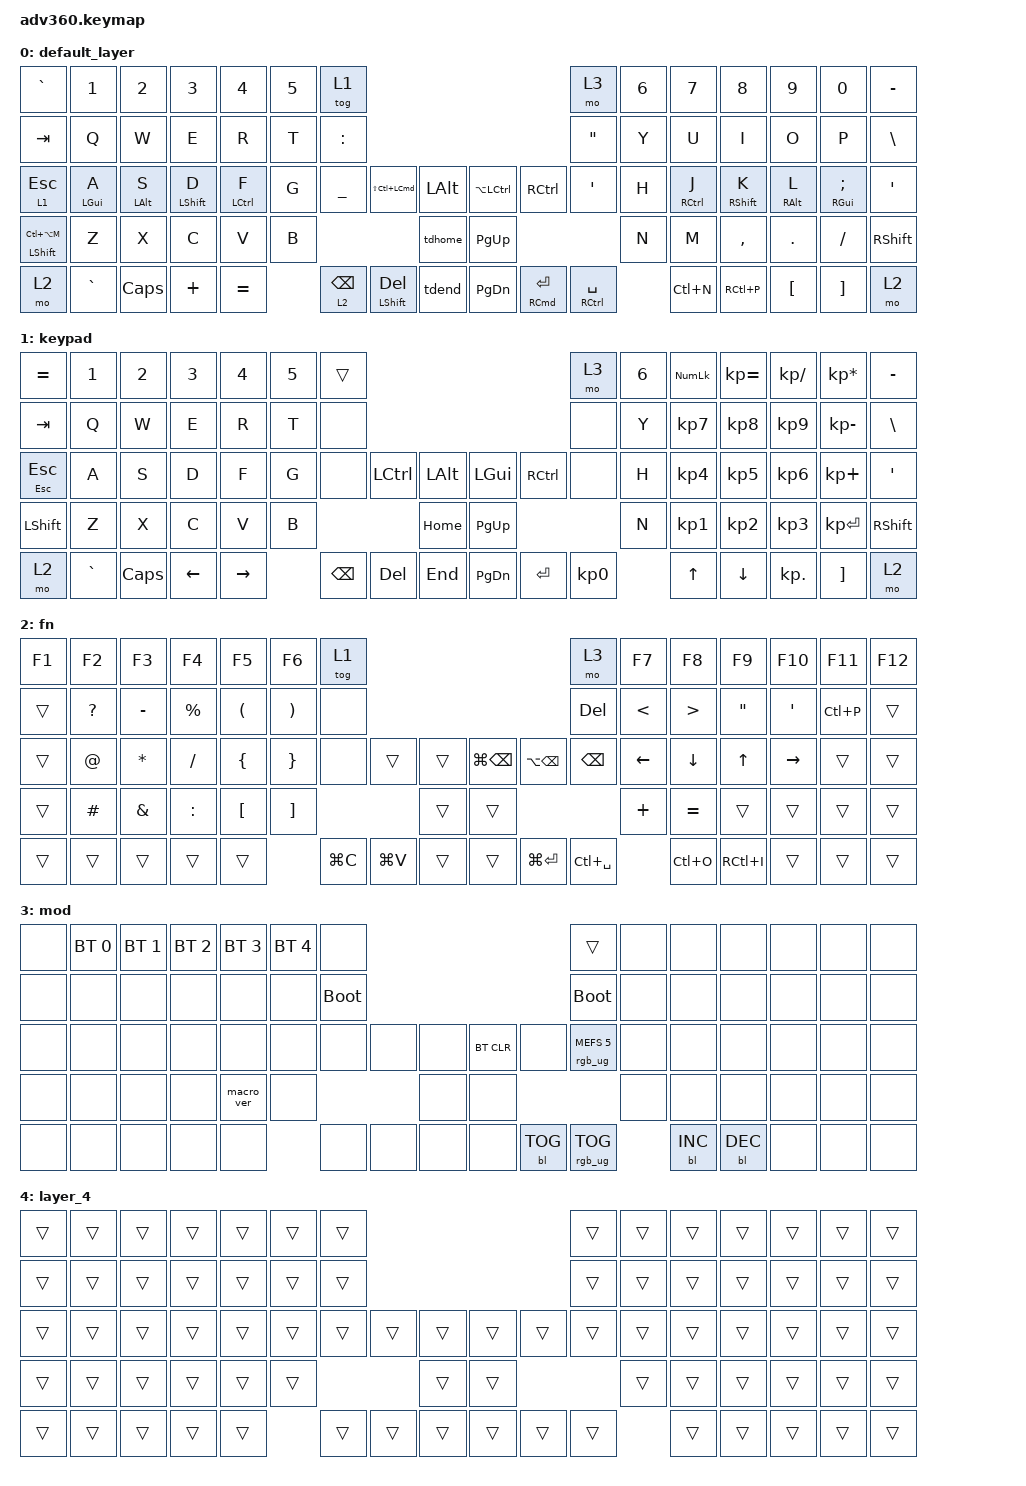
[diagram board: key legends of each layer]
#include <behaviors.dtsi>
#include <dt-bindings/zmk/backlight.h>
#include <dt-bindings/zmk/bt.h>
#include <dt-bindings/zmk/keys.h>
#include <dt-bindings/zmk/rgb.h>

/ {
    behaviors {
        #include "macros.dtsi"
      #include "version.dtsi"
      #ifndef VERSION_MACRO

        macro_ver: macro_ver {
            compatible = "zmk,behavior-macro";
            label = "macro_version";
            #binding-cells = <0>;
            bindings = <&kp RET>;
        };

        clear_everything: clear_everything {
            compatible = "zmk,behavior-macro";
            #binding-cells = <0>;
            bindings = <&kp LG(A) &kp DELETE>;
            label = "CLEAR_EVERYTHING";
        };

        tmux_next_pane: tmux_next {
            compatible = "zmk,behavior-macro";
            #binding-cells = <0>;
            bindings = <&kp LC(A) &kp N>;
            label = "TMUX_NEXT";
        };

        tmux_prev_pane: tmux_prev {
            compatible = "zmk,behavior-macro";
            #binding-cells = <0>;
            bindings = <&kp LC(A) &kp P>;
            label = "TMUX_PREV";
        };

        rust_arrow_text: rust_arrow_text {
            compatible = "zmk,behavior-macro";
            #binding-cells = <0>;
            bindings = <&kp MINUS &kp GT &kp SPACE>;
            label = "RUST_ARROW_TEXT";
        };

        #endif

        hmj: homerow_mods {
            compatible = "zmk,behavior-hold-tap";
            label = "HOMEROW_MODS";
            #binding-cells = <2>;
            tapping-term-ms = <200>;
            quick_tap_ms = <175>;
            flavor = "tap-preferred";
            bindings = <&kp>, <&kp>;
        };

        tdhome: tdhome {
            compatible = "zmk,behavior-tap-dance";
            label = "TDHOME";
            #binding-cells = <0>;
            bindings = <&kp HOME>, <&kp LS(HOME)>;
        };

        tdend: tdend {
            compatible = "zmk,behavior-tap-dance";
            label = "TDEND";
            #binding-cells = <0>;
            bindings = <&kp END>, <&kp LS(END)>;
        };
    };

    macros {
    };

    combos {
        compatible = "zmk,combos";

        Bootloader-left {
            bindings = <&bootloader>;
            key-positions = <6 20 34>;
        };

        cmd-space {
            bindings = <&kp LG(SPACE)>;
            key-positions = <65 70>;
        };

        bootloader-right {
            bindings = <&bootloader>;
            key-positions = <7 21 39>;
        };
    };

    keymap {
        compatible = "zmk,keymap";

        default_layer {
            bindings = <
&kp GRAVE             &kp N1       &kp N2           &kp N3             &kp N4        &kp N5  &tog 1                                                                                                 &mo 3              &kp N6  &kp N7        &kp N8              &kp N9       &kp N0               &kp MINUS
&kp TAB               &kp Q        &kp W            &kp E              &kp R         &kp T   &kp COLON                                                                                              &kp DOUBLE_QUOTES  &kp Y   &kp U         &kp I               &kp O        &kp P                &kp BSLH
&lt 1 ESC             &hmj LGUI A  &hmj LEFT_ALT S  &hmj LEFT_SHIFT D  &hmj LCTRL F  &kp G   &kp UNDERSCORE   &kp LS(LC(LEFT_COMMAND))  &kp LALT      &kp LA(LEFT_CONTROL)  &kp RCTRL               &kp SINGLE_QUOTE   &kp H   &hmj RCTRL J  &hmj RIGHT_SHIFT K  &hmj RALT L  &hmj RGUI SEMICOLON  &kp SQT
&hmj LSHFT LC(LA(M))  &kp Z        &kp X            &kp C              &kp V         &kp B                                              &tdhome       &kp PG_UP                                                        &kp N   &kp M         &kp COMMA           &kp DOT      &kp FSLH             &kp RSHFT
&mo 2                 &kp GRAVE    &kp CAPS         &kp PLUS           &kp EQUAL             &lt 2 BACKSPACE  &mt LEFT_SHIFT DELETE     &tdend        &kp PG_DN             &hmj RIGHT_COMMAND RET  &hmj RCTRL SPACE           &kp LC(N)     &kp RC(P)           &kp LBKT     &kp RBKT             &mo 2
            >;
        };

        keypad {
            bindings = <
&kp EQUAL        &kp N1     &kp N2    &kp N3    &kp N4     &kp N5  &trans                                                   &mo 3      &kp N6  &kp KP_NUM  &kp KP_EQUAL  &kp KP_DIVIDE  &kp KP_MULTIPLY  &kp MINUS
&kp TAB          &kp Q      &kp W     &kp E     &kp R      &kp T   &none                                                    &none      &kp Y   &kp KP_N7   &kp KP_N8     &kp KP_N9      &kp KP_MINUS     &kp BSLH
&hmj ESC ESCAPE  &kp A      &kp S     &kp D     &kp F      &kp G   &none     &kp LCTRL  &kp LALT      &kp LGUI   &kp RCTRL  &none      &kp H   &kp KP_N4   &kp KP_N5     &kp KP_N6      &kp KP_PLUS      &kp SQT
&kp LSHFT        &kp Z      &kp X     &kp C     &kp V      &kp B                        &kp HOME      &kp PG_UP                        &kp N   &kp KP_N1   &kp KP_N2     &kp KP_N3      &kp KP_ENTER     &kp RSHFT
&mo 2            &kp GRAVE  &kp CAPS  &kp LEFT  &kp RIGHT          &kp BSPC  &kp DEL    &kp END       &kp PG_DN  &kp ENTER  &kp KP_N0          &kp UP      &kp DOWN      &kp KP_DOT     &kp RBKT         &mo 2
            >;
        };

        fn {
            bindings = <
&kp F1  &kp F2        &kp F3         &kp F4       &kp F5                &kp F6                 &tog 1                                                                  &mo 3          &kp F7          &kp F8            &kp F9             &kp F10          &kp F11    &kp F12
&trans  &kp QUESTION  &kp MINUS      &kp PERCENT  &kp LEFT_PARENTHESIS  &kp RIGHT_PARENTHESIS  &none                                                                   &kp DELETE     &kp LESS_THAN   &kp GREATER_THAN  &kp DOUBLE_QUOTES  &kp SQT          &kp LC(P)  &trans
&trans  &kp AT_SIGN   &kp ASTERISK   &kp SLASH    &kp LEFT_BRACE        &kp RIGHT_BRACE        &none      &trans     &trans      &kp LG(BACKSPACE)  &kp LA(BACKSPACE)  &kp BACKSPACE  &kp LEFT_ARROW  &kp DOWN_ARROW    &kp UP_ARROW       &kp RIGHT_ARROW  &trans     &trans
&trans  &kp HASH      &kp AMPERSAND  &kp COLON    &kp LEFT_BRACKET      &kp RIGHT_BRACKET                            &trans      &trans                                               &kp PLUS        &kp EQUAL         &trans             &trans           &trans     &trans
&trans  &trans        &trans         &trans       &trans                                       &kp LG(C)  &kp LG(V)  &trans      &trans             &kp LG(ENTER)      &kp LC(SPACE)                  &kp LC(O)         &kp RC(I)          &trans           &trans     &trans
            >;
        };

        mod {
            bindings = <
&none  &bt BT_SEL 0  &bt BT_SEL 1  &bt BT_SEL 2  &bt BT_SEL 3  &bt BT_SEL 4  &none                                                  &trans                  &none  &none       &none       &none  &none  &none
&none  &none         &none         &none         &none         &none         &bootloader                                            &bootloader             &none  &none       &none       &none  &none  &none
&none  &none         &none         &none         &none         &none         &none        &none  &none      &bt BT_CLR  &none       &rgb_ug RGB_MEFS_CMD 5  &none  &none       &none       &none  &none  &none
&none  &none         &none         &none         &macro_ver    &none                             &none      &none                                           &none  &none       &none       &none  &none  &none
&none  &none         &none         &none         &none                       &none        &none  &none      &none       &bl BL_TOG  &rgb_ug RGB_TOG                &bl BL_INC  &bl BL_DEC  &none  &none  &none
            >;
        };

        layer_4 {
            bindings = <
&trans  &trans  &trans  &trans  &trans  &trans  &trans                                      &trans  &trans  &trans  &trans  &trans  &trans  &trans
&trans  &trans  &trans  &trans  &trans  &trans  &trans                                      &trans  &trans  &trans  &trans  &trans  &trans  &trans
&trans  &trans  &trans  &trans  &trans  &trans  &trans  &trans  &trans      &trans  &trans  &trans  &trans  &trans  &trans  &trans  &trans  &trans
&trans  &trans  &trans  &trans  &trans  &trans                  &trans      &trans                  &trans  &trans  &trans  &trans  &trans  &trans
&trans  &trans  &trans  &trans  &trans          &trans  &trans  &trans      &trans  &trans  &trans          &trans  &trans  &trans  &trans  &trans
            >;
        };
    };
};
